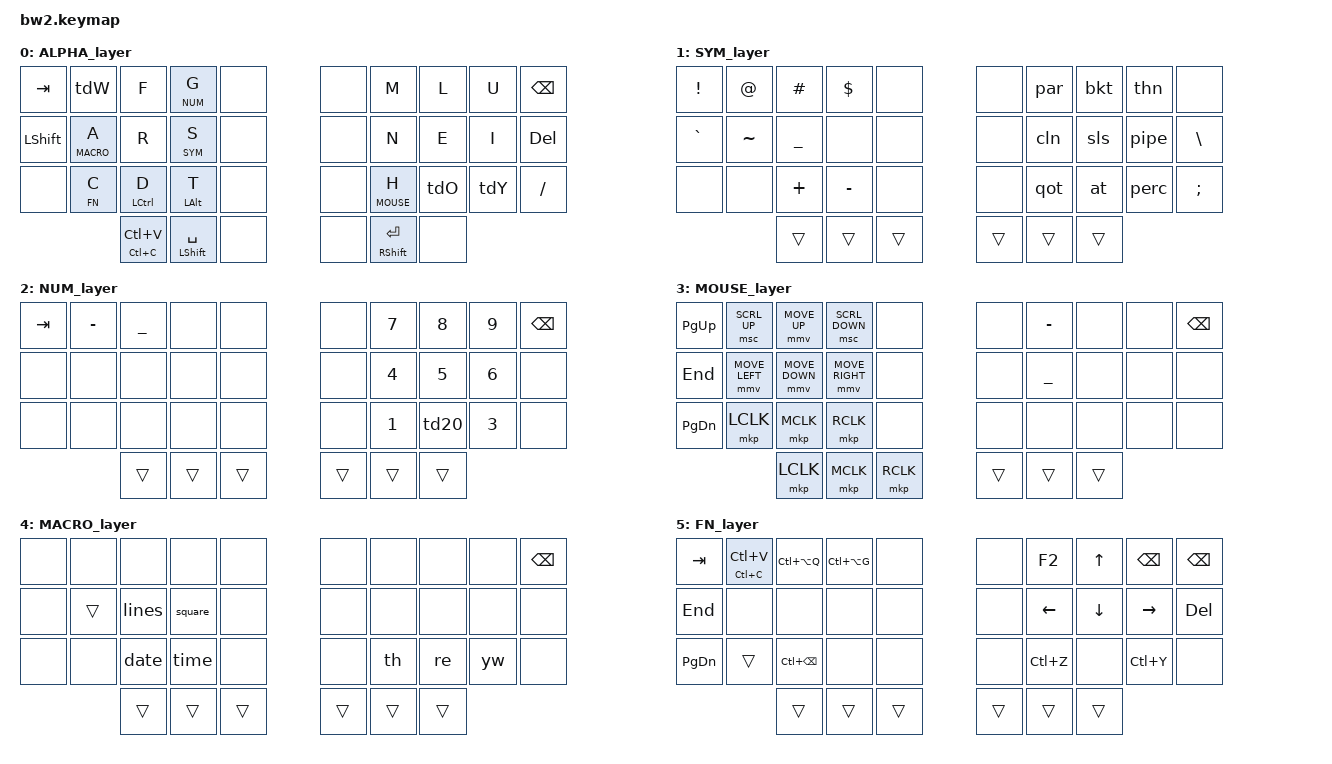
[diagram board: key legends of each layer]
/*
 * Copyright (c) 2022 The ZMK Contributors
 *
 * SPDX-License-Identifier: MIT
 */

#include <behaviors.dtsi>
#include <dt-bindings/zmk/keys.h>
#include <dt-bindings/zmk/bt.h>
#include <dt-bindings/zmk/outputs.h>
#include <dt-bindings/zmk/mouse.h>
#include "mouse.dtsi"


#define ALPHA       0
#define SYM         1
#define NUM         2
#define MOUSE       3
#define MACRO       4
#define FN          5


&mt {
    tapping_term_ms = <180>;
};

&lt {
    tapping_term_ms = <150>;
};

/ {
    combos {
        compatible = "zmk,combos";
        combo_bootloader {
            timeout-ms = <50>;
            key-positions = <0 1 2>;
            bindings = <&bootloader>;
        };

        compatible = "zmk,combos";
        combo_q {
            timeout-ms = <50>;
            key-positions = <1 2>;
            bindings = <&kp Q>;
        };

        compatible = "zmk,combos";
        combo_b {
            timeout-ms = <50>;
            key-positions = <2 3>;
            bindings = <&kp B>;
        };

        compatible = "zmk,combos";
        combo_j {
            timeout-ms = <50>;
            key-positions = <6 7>;
            bindings = <&kp J>;
        };

        compatible = "zmk,combos";
        combo_bspc {
            timeout-ms = <50>;
            key-positions = <7 8>;
            bindings = <&kp BSPC>;
        };

        compatible = "zmk,combos";
        combo_v {
            timeout-ms = <50>;
            key-positions = <11 12>;
            bindings = <&kp V>;
        };

        compatible = "zmk,combos";
        combo_p {
            timeout-ms = <50>;
            key-positions = <12 13>;
            bindings = <&kp P>;
        };

        compatible = "zmk,combos";
        combo_k {
            timeout-ms = <50>;
            key-positions = <16 17>;
            bindings = <&kp K>;
        };

        compatible = "zmk,combos";
        combo_excl {
            timeout-ms = <50>;
            key-positions = <17 18>;
            bindings = <&kp EXCL>;
        };

        compatible = "zmk,combos";
        combo_z {
            timeout-ms = <50>;
            key-positions = <21 22>;
            bindings = <&kp Z>;
        };

        compatible = "zmk,combos";
        combo_x {
            timeout-ms = <50>;
            key-positions = <22 23>;
            bindings = <&kp X>;
        };

        compatible = "zmk,combos";
        combo_qmark {
            timeout-ms = <50>;
            key-positions = <27 28>;
            bindings = <&kp QMARK>;
        };
    };

    behaviors {

        bkt: tap_dance_bracket {
            compatible = "zmk,behavior-tap-dance";
            label = "tap_dance_bracket";
            #binding-cells = <0>;
            tapping-term-ms = <200>;
            bindings = <&kp LBKT>, <&kp RBKT>;
        };

        cln: tap_dance_colon {
            compatible = "zmk,behavior-tap-dance";
            label = "tap_dance_colon";
            #binding-cells = <0>;
            tapping-term-ms = <200>;
            bindings = <&kp COLON>, <&kp SEMI>;
        };

        par: tap_dance_paren {
            compatible = "zmk,behavior-tap-dance";
            label = "tap_dance_paren";
            #binding-cells = <0>;
            tapping-term-ms = <200>;
            bindings = <&kp LPAR>, <&kp RPAR>;
        };

        thn: tap_dance_then {
            compatible = "zmk,behavior-tap-dance";
            label = "tap_dance_then";
            #binding-cells = <0>;
            tapping-term-ms = <200>;
            bindings = <&kp LT>, <&kp GT>;
        };

        qot: tap_dance_quote {
            compatible = "zmk,behavior-tap-dance";
            label = "tap_dance_quote";
            #binding-cells = <0>;
            tapping-term-ms = <200>;
            bindings = <&kp SQT>, <&kp DQT>;
        };

        sls: tap_dance_slash {
            compatible = "zmk,behavior-tap-dance";
            label = "tap_dance_slash";
            #binding-cells = <0>;
            tapping-term-ms = <200>;
            bindings = <&kp FSLH>, <&kp BSLH>;
        };

        pipe: tap_dance_pipe {
            compatible = "zmk,behavior-tap-dance";
            label = "tap_dance_pipe";
            #binding-cells = <0>;
            tapping-term-ms = <200>;
            bindings = <&kp PIPE>, <&kp AMPS>;
        };

        at: tap_dance_at {
            compatible = "zmk,behavior-tap-dance";
            label = "tap_dance_at";
            #binding-cells = <0>;
            tapping-term-ms = <200>;
            bindings = <&kp AT>, <&kp HASH>;
        };

        perc: tap_dance_perc {
            compatible = "zmk,behavior-tap-dance";
            label = "tap_dance_perc";
            #binding-cells = <0>;
            tapping-term-ms = <200>;
            bindings = <&kp PRCNT>, <&kp DLLR>;
        };

        tdW: tap_dance_W {
            compatible = "zmk,behavior-tap-dance";
            #binding-cells = <0>;
            tapping-term-ms = <180>;
            bindings = <&kp W>, <&kp ESC>;
        };

        tdO: tap_dance_O {
            compatible = "zmk,behavior-tap-dance";
            #binding-cells = <0>;
            tapping-term-ms = <200>;
            bindings = <&kp O>, <&kp COMMA>;
        };

        tdY: tap_dance_Y {
            compatible = "zmk,behavior-tap-dance";
            #binding-cells = <0>;
            tapping-term-ms = <200>;
            bindings = <&kp Y>, <&kp DOT>;
        };

        td20: tap_dance_20 {
            compatible = "zmk,behavior-tap-dance";
            #binding-cells = <0>;
            tapping-term-ms = <180>;
            bindings = <&kp N2>, <&kp N0>;
        };

        cccv: copy_paste {
           compatible = "zmk,behavior-hold-tap";
           #binding-cells = <2>;
           flavor = "hold-preferred";
           tapping-term-ms = <200>;
            bindings = <&kp>, <&kp>;
        };

        hrm: homerow_mods {
            compatible = "zmk,behavior-hold-tap";
            #binding-cells = <2>;
            tapping-term-ms = <200>;
            quick-tap-ms = <0>;
            flavor = "tap-preferred";
            bindings = <&kp>, <&kp>;
        };
    };

    macros {
        th: ahk_th {
            compatible = "zmk,behavior-macro";
            #binding-cells = <0>;
            bindings
                = <&macro_tap &kp FSLH &kp FSLH &kp T &kp H>
                ;
        };

        re: ahk_re {
            compatible = "zmk,behavior-macro";
            #binding-cells = <0>;
            bindings
                = <&macro_tap &kp FSLH &kp FSLH &kp R &kp E>
                ;
        };

        yw: ahk_yw {
            compatible = "zmk,behavior-macro";
            #binding-cells = <0>;
            bindings
                = <&macro_tap &kp FSLH &kp FSLH &kp Y &kp W>
                ;
        };

        date: ahk_date {
            compatible = "zmk,behavior-macro";
            #binding-cells = <0>;
            bindings
                = <&macro_tap &kp FSLH &kp FSLH &kp A &kp N1 &kp N1>
                ;
        };

        time: ahk_time {
            compatible = "zmk,behavior-macro";
            #binding-cells = <0>;
            bindings
                = <&macro_tap &kp FSLH &kp FSLH &kp A &kp N1 &kp N2>
                ;
        };

        lines: ahk_lines {
            compatible = "zmk,behavior-macro";
            #binding-cells = <0>;
            bindings
                = <&macro_tap &kp FSLH &kp FSLH &kp A &kp N0 &kp N8>
                ;
        };

        square: ahk_square {
            compatible = "zmk,behavior-macro";
            #binding-cells = <0>;
            bindings
                = <&macro_tap &kp FSLH &kp FSLH &kp A &kp N0 &kp N9>
                ;
        };
    };



    keymap {
        compatible = "zmk,keymap";

        ALPHA_layer {
// ---------------------------------------------------------------------------------------------------------------
// |   TAB   |    W   [Q]   F   [B]   G num|         |    X    |         |    M   [J]   L    |    U    |  BSPC   |
// |  SHIFT  | A macro[V]   R   [P]   S sym|         |    X    |         |    N   [K]   E   [!]   I    |  DEL    |
// |  XXXX   |  C  fn [Z]   D   [X]   T    |         |    X    |         | H mouse |  O tt,  |  Y  tt. |  XXXX   |
//                     |   CCCV  |SPC/SHFT | RETURN  |    X    |   SPC   | SPC/ENT |   Paste |
// ---------------------------------------------------------------------------------------------------------------
            bindings = <
                &kp TAB     &tdW   &kp F          &lt NUM G        &none  &none     &kp M  &kp L  &kp U  &kp BSPC
                &kp LSHIFT  &lt MACRO A  &kp R          &lt SYM S        &none  &none     &kp N  &kp E  &kp I  &kp DEL
                &none    &lt FN C  &hrm LCTRL D   &hrm LALT T  &none  &none     &lt MOUSE H  &tdO   &tdY   &kp SLASH
                         &cccv LC(C) LC(V)    &mt LSHIFT SPC            &none  &none     &mt RSHIFT RET  &none
            >;
        };

        SYM_layer {
            bindings = <
                &kp EXCL    &kp AT      &kp HASH    &kp DLLR    &none       &none   &par    &bkt   &thn     &none
                &kp GRAVE   &kp TILDE   &kp UNDER   &none       &none       &none   &cln    &sls   &pipe    &kp BSLH
                &none       &none       &kp PLUS    &kp MINUS   &none       &none   &qot    &at    &perc    &kp SEMI
                                        &trans      &trans      &trans      &trans  &trans  &trans
            >;
        };

        NUM_layer {
            bindings = <
                &kp TAB     &kp MINUS   &kp UNDER   &none       &none       &none       &kp N7      &kp N8      &kp N9      &kp BSPC 
                &none       &none       &none       &none       &none       &none       &kp N4      &kp N5      &kp N6      &none
                &none       &none       &none       &none       &none       &none       &kp N1      &td20       &kp N3      &none
                                        &trans      &trans      &trans      &trans      &trans      &trans
            >;
        };

        MOUSE_layer {
            bindings = <
                &kp PG_UP  &msc SCRL_UP            &mmv MOVE_UP      &msc SCRL_DOWN              &none    &none       &kp MINUS   &none    &none     &kp BSPC 
                &kp END    &mmv MOVE_LEFT    &mmv MOVE_DOWN    &mmv MOVE_RIGHT    &none    &none       &kp UNDER   &none    &none     &none
                &kp PG_DN  &mkp LCLK             &mkp MCLK             &mkp RCLK              &none    &none       &none       &none    &none     &none    
                           &mkp LCLK             &mkp MCLK             &mkp RCLK              &trans      &trans      &trans
            >;
        };

        MACRO_layer {
            bindings = <
                &none      &none       &none       &none        &none    &none       &none       &none    &none     &kp BSPC 
                &none      &trans      &lines      &square      &none    &none       &none       &none    &none     &none
                &none      &none       &date       &time        &none    &none       &th         &re      &yw       &none    
                                                &trans          &trans          &trans          &trans      &trans      &trans
            >;
        };

        FN_layer {
            bindings = <
                &kp TAB    &cccv LC(C) LC(V)   &kp LC(LA(Q)) &kp LC(LA(G)) &none    &none     &kp F2       &kp UP      &kp BSPC      &kp BSPC 
                &kp END    &none   &none      &none            &none    &none     &kp LEFT     &kp DOWN    &kp RIGHT  &kp DEL 
                &kp PG_DN  &trans  &kp LC(BSPC) &none          &none    &none     &kp LC(Z)    &none       &kp LC(Y)       &none    
                                                &trans            &trans          &trans       &trans      &trans      &trans
            >;
        };
    };
};
